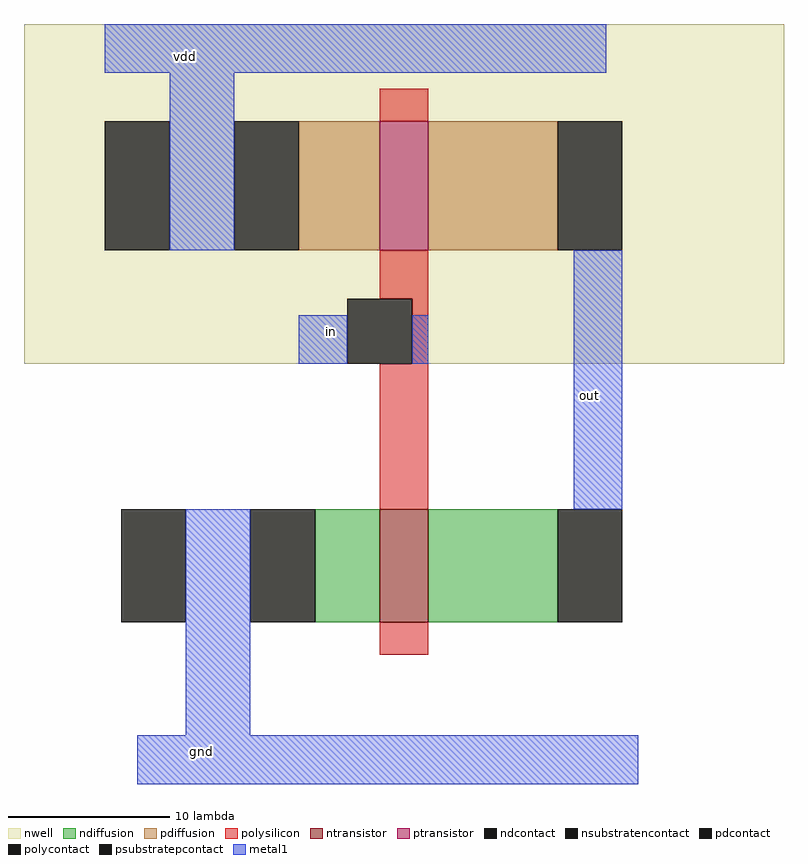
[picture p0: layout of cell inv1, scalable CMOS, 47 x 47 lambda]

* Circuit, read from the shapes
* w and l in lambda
.subckt inv1 gnd in out vdd
M1 out in gnd gnd nfet w=7 l=3
M2 out in vdd vdd pfet w=8 l=3
.ends

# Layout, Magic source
magic
tech scmos
<< nwell >>
rect -16 -2 31 19
<< ntransistor >>
rect 6 -18 9 -11
<< ptransistor >>
rect 6 5 9 13
<< ndiffusion >>
rect 2 -18 6 -11
rect 9 -18 17 -11
<< pdiffusion >>
rect 1 5 6 13
rect 9 5 17 13
<< ndcontact >>
rect -2 -18 2 -11
rect 17 -18 21 -11
<< pdcontact >>
rect -3 5 1 13
rect 17 5 21 13
<< psubstratepcontact >>
rect -10 -18 -6 -11
<< nsubstratencontact >>
rect -11 5 -7 13
<< polysilicon >>
rect 6 13 9 15
rect 6 2 9 5
rect 8 -2 9 2
rect 6 -11 9 -2
rect 6 -20 9 -18
<< polycontact >>
rect 4 -2 8 2
<< metal1 >>
rect -11 16 20 19
rect -7 5 -3 16
rect 1 -2 4 1
rect 8 -2 9 1
rect 18 -11 21 5
rect -6 -25 -2 -11
rect -9 -28 22 -25
<< labels >>
rlabel metal1 -6 17 -6 17 5 vdd
rlabel metal1 -5 -26 -5 -26 1 gnd
rlabel metal1 3 0 3 0 1 in
rlabel metal1 19 -4 19 -4 1 out
<< end >>
